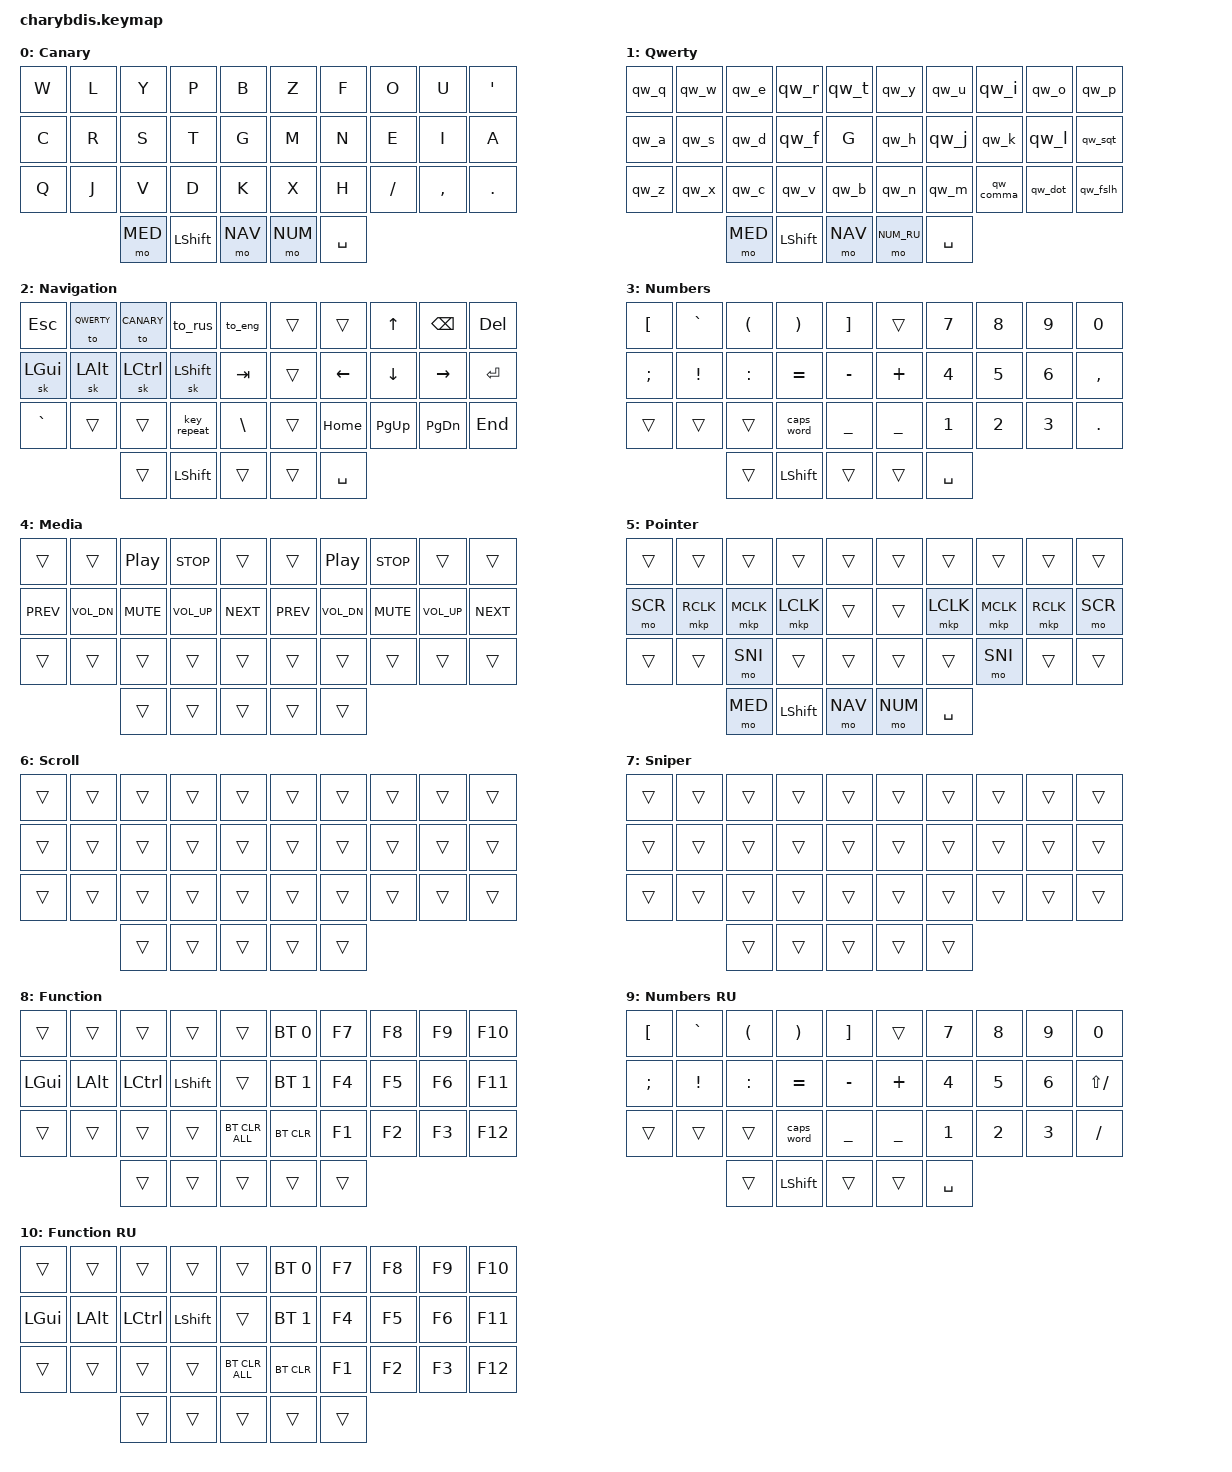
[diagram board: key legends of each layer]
#include <dt-bindings/zmk/mouse.h>
#include <behaviors/mouse_keys.dtsi>
#include <behaviors.dtsi>
#include <dt-bindings/zmk/bt.h>
#include <dt-bindings/zmk/keys.h>
#include "behaviors.dtsi"

#define CANARY 0
#define QWERTY 1
#define NAV 2
#define NUM 3
#define MED 4
#define POI 5
#define SCR 6
#define SNI 7
#define FUNC 8
#define NUM_RU 9
#define FUNC_RU 10

&sl {
  release-after-ms = <2000>;
  ignore-modifiers;
  quick-release;
};

&mt {
    tapping-term-ms = <200>;
    require-prior-idle-ms = <150>;
};

/ {
    chosen { zmk,matrix_transform = &five_column_transform; };

    macros {
        to_eng: to_eng {
            compatible = "zmk,behavior-macro";
            #binding-cells = <0>;
            bindings
                = <&macro_press &kp LCTRL>
                , <&macro_press &kp LSHFT>
                , <&macro_tap &kp SPACE>
                , <&macro_release &kp LSHFT>
                , <&macro_release &kp LCTRL>
                , <&macro_tap &to CANARY>
                ;
        };

        to_rus: to_rus {
            compatible = "zmk,behavior-macro";
            #binding-cells = <0>;
            bindings
                = <&macro_press &kp LGUI>
                , <&macro_press &kp LSHFT>
                , <&macro_tap &kp SPACE>
                , <&macro_release &kp LSHFT>
                , <&macro_release &kp LGUI>
                , <&macro_tap &to QWERTY>
                ;
        };
    };

    conditional_layers {
        compatible = "zmk,conditional-layers";

        tri_layer {
            if-layers = <NAV NUM>;
            then-layer = <FUNC>;
        };

        tri_layer_ru {
            if-layers = <NAV NUM_RU>;
            then-layer = <FUNC_RU>;
        };
    };

    #include "combos.dtsi"

    keymap {
        compatible = "zmk,keymap";

        Canary {
            label = "Canary";
            bindings = <
                &kp W          &kp L          &kp Y          &kp P          &kp B            &kp Z          &kp F          &kp O          &kp U          &kp SQT
                &kp C          &kp R          &kp S          &kp T          &kp G            &kp M          &kp N          &kp E          &kp I          &kp A
                &kp Q          &kp J          &kp V          &kp D          &kp K            &kp X          &kp H          &kp SLASH      &kp COMMA      &kp DOT
                                              &mo MED        &kp LSHIFT     &mo NAV          &mo NUM        &kp SPACE
            >;
        };

        Qwerty {
            label = "Qwerty";
            bindings = <
                &qw_q          &qw_w          &qw_e          &qw_r          &qw_t            &qw_y          &qw_u          &qw_i          &qw_o          &qw_p
                &qw_a          &qw_s          &qw_d          &qw_f          &kp G            &qw_h          &qw_j          &qw_k          &qw_l          &qw_sqt
                &qw_z          &qw_x          &qw_c          &qw_v          &qw_b            &qw_n          &qw_m          &qw_comma      &qw_dot        &qw_fslh
                                              &mo MED        &kp LSHIFT     &mo NAV          &mo NUM_RU     &kp SPACE
            >;
        };

        Navigation {
            label = "Navigation";
            bindings = <
                &kp ESC        &to QWERTY     &to CANARY     &to_rus        &to_eng          &trans         &trans         &kp UP         &kp BKSP       &kp DEL
                &sk LGUI       &sk LALT       &sk LCTRL      &sk LSHFT      &kp TAB          &trans         &kp LEFT       &kp DOWN       &kp RIGHT      &kp ENTER
                &kp GRAVE      &trans         &trans         &key_repeat    &kp BSLH         &trans         &kp HOME       &kp PG_UP      &kp PG_DN      &kp END
                                              &trans         &kp LSHIFT     &trans           &trans         &kp SPACE
            >;
        };

        Numbers {
            label = "Numbers";
            bindings = <
                &kp LBKT       &kp GRAVE      &kp LPAR       &kp RPAR       &kp RBKT         &trans         &kp N7         &kp N8         &kp N9         &kp N0
                &kp SEMI       &kp EXCL       &kp COLON      &kp EQUAL      &kp MINUS        &kp PLUS       &kp N4         &kp N5         &kp N6         &kp COMMA
                &trans         &trans         &trans         &caps_word     &kp UNDER        &kp UNDER      &kp N1         &kp N2         &kp N3         &kp DOT
                                              &trans         &kp LSHIFT     &trans           &trans         &kp SPACE
            >;
        };

        Media {
            label = "Media";
            bindings = <
                &trans         &trans         &kp C_PP       &kp C_STOP     &trans           &trans         &kp C_PP       &kp C_STOP     &trans         &trans
                &kp C_PREV     &kp C_VOL_DN   &kp C_MUTE     &kp C_VOL_UP   &kp C_NEXT       &kp C_PREV     &kp C_VOL_DN   &kp C_MUTE     &kp C_VOL_UP   &kp C_NEXT
                &trans         &trans         &trans         &trans         &trans           &trans         &trans         &trans         &trans         &trans
                                              &trans         &trans         &trans           &trans         &trans
            >;
        };

        Pointer {
            label = "Pointer";
            bindings = <
                &trans         &trans         &trans         &trans         &trans           &trans         &trans         &trans         &trans         &trans
                &mo SCR        &mkp RCLK      &mkp MCLK      &mkp LCLK      &trans           &trans         &mkp LCLK      &mkp MCLK      &mkp RCLK      &mo SCR
                &trans         &trans         &mo SNI        &trans         &trans           &trans         &trans         &mo SNI        &trans         &trans
                                              &mo MED        &kp LSHIFT     &mo NAV          &mo NUM        &kp SPACE
            >;
        };

        Scroll {
            label = "Scroll";
            bindings = <
                &trans  &trans  &trans  &trans  &trans    &trans  &trans  &trans  &trans  &trans
                &trans  &trans  &trans  &trans  &trans    &trans  &trans  &trans  &trans  &trans
                &trans  &trans  &trans  &trans  &trans    &trans  &trans  &trans  &trans  &trans
                                &trans  &trans  &trans    &trans  &trans
            >;
        };

        Sniper {
            label = "Sniper";
            bindings = <
                &trans  &trans  &trans  &trans  &trans    &trans  &trans  &trans  &trans  &trans
                &trans  &trans  &trans  &trans  &trans    &trans  &trans  &trans  &trans  &trans
                &trans  &trans  &trans  &trans  &trans    &trans  &trans  &trans  &trans  &trans
                                &trans  &trans  &trans    &trans  &trans
            >;
        };

        Function {
            label = "Function";
            bindings = <
                &trans         &trans         &trans         &trans         &trans           &bt BT_SEL 0   &kp F7         &kp F8         &kp F9         &kp F10
                &kp LGUI       &kp LALT       &kp LCTRL      &kp LSHFT      &trans           &bt BT_SEL 1   &kp F4         &kp F5         &kp F6         &kp F11
                &trans         &trans         &trans         &trans         &bt BT_CLR_ALL   &bt BT_CLR     &kp F1         &kp F2         &kp F3         &kp F12
                                              &trans         &trans         &trans           &trans         &trans
            >;
        };

        Numbers_RU {
            label = "Numbers RU";
            bindings = <
                &kp LBKT       &kp GRAVE      &kp LPAR       &kp RPAR       &kp RBKT         &trans         &kp N7         &kp N8         &kp N9         &kp N0
                &kp SEMI       &kp EXCL       &kp COLON      &kp EQUAL      &kp MINUS        &kp PLUS       &kp N4         &kp N5         &kp N6         &kp LS(FSLH)
                &trans         &trans         &trans         &caps_word     &kp UNDER        &kp UNDER      &kp N1         &kp N2         &kp N3         &kp FSLH
                                              &trans         &kp LSHIFT     &trans           &trans         &kp SPACE
            >;
        };

        Function_RU {
            label = "Function RU";
            bindings = <
                &trans         &trans         &trans         &trans         &trans           &bt BT_SEL 0   &kp F7         &kp F8         &kp F9         &kp F10
                &kp LGUI       &kp LALT       &kp LCTRL      &kp LSHFT      &trans           &bt BT_SEL 1   &kp F4         &kp F5         &kp F6         &kp F11
                &trans         &trans         &trans         &trans         &bt BT_CLR_ALL   &bt BT_CLR     &kp F1         &kp F2         &kp F3         &kp F12
                                              &trans         &trans         &trans           &trans         &trans
            >;
        };
    };
};
